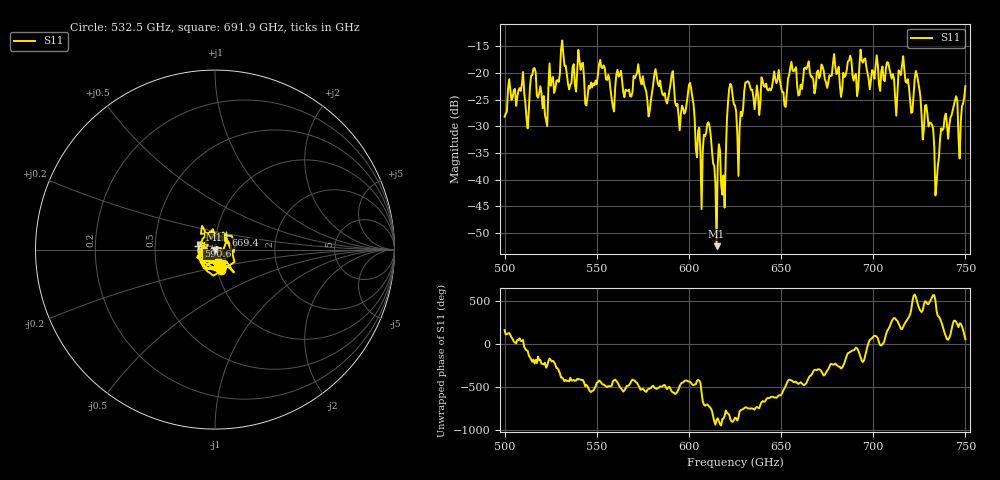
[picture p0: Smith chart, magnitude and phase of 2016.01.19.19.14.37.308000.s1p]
!Created with skrf (http://scikit-rf.org).
# GHz S RI R 50.0
!freq ReS11 ImS11
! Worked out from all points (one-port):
!   401 points, 500 GHz to 750 GHz, reference 50 ohm
!   lowest |S11| = -52.5 dB at 615 GHz (marker M1), VSWR 1.00, Z = 49.8 - j0.0746 ohm
!   |S11| at or under -10 dB: start of sweep to end of sweep
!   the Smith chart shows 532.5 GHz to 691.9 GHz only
!   S11 on the Smith chart (normalised r, x): 532.5 GHz: 1.04, -0.24; 590.6 GHz: 0.83, +0.03; 669.4 GHz: 1.11, +0.18; 691.9 GHz: 1.02, -0.15
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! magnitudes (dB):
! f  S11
! 500 GHz  -28.2
! 512.5 GHz  -30.4
! 515.6 GHz  -19.2
! 521.9 GHz  -27.9
! 531.2 GHz  -13.9
! 532.5 GHz  -18.7
! 545 GHz  -24.4
! 562.5 GHz  -20.3
! 590.6 GHz  -20.4
! 593.8 GHz  -25.8
! 601.2 GHz  -23.1
! 605.6 GHz  -30.2
! 610.6 GHz  -29.2
! 615 GHz  -52.5
! 618.8 GHz  -39.2
! 622.5 GHz  -22.0
! 625 GHz  -26.1
! 627.5 GHz  -30.3
! 656.2 GHz  -19.5
! 669.4 GHz  -19.9
! 687.5 GHz  -16.7
! 691.9 GHz  -22.7
! 718.8 GHz  -21.1
! 723.8 GHz  -20.4
! 734.4 GHz  -40.6
! 738.1 GHz  -30.4
! 747.5 GHz  -29.1
! 750 GHz  -22.5
